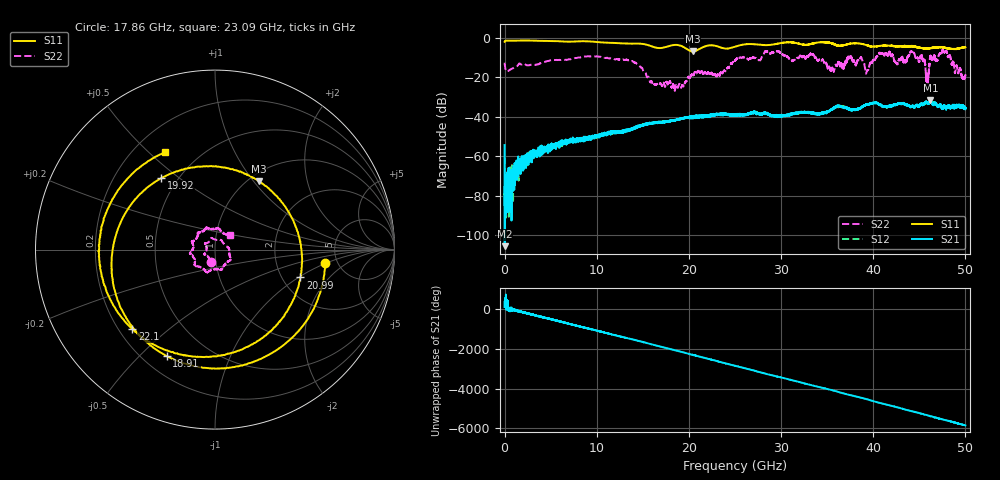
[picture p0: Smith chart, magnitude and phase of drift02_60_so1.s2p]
!Created with skrf (http://scikit-rf.org).
# Hz S RI R 50.0
!freq ReS11 ImS11 ReS21 ImS21 ReS12 ImS12 ReS22 ImS22
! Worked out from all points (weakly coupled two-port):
!   10001 points, 300 kHz to 50 GHz, reference 50 ohm
!   highest |S21| = -31.60 dB at 46.21 GHz (marker M1); lowest = -105.5 dB at 15.3 MHz (marker M2)
!   lowest |S11| = -6.9 dB at 20.42 GHz (marker M3), VSWR 2.64, Z = 55.5 + j53 ohm
!   |S11| at or under -10 dB: nowhere
!   |S22| runs from -26.8 to -5.9 dB; largest |S21 - S12| = 0.0032
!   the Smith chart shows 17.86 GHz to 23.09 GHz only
!   S11 on the Smith chart (normalised r, x): 17.86 GHz: 3.99, -0.99; 18.91 GHz: 0.29, -0.61; 19.92 GHz: 0.41, +0.43; 20.99 GHz: 2.51, -1.04; 22.1 GHz: 0.25, -0.38; 23.09 GHz: 0.33, +0.56
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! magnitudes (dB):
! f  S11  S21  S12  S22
! 300 kHz  -2.1  -54.3  -60.6  -12.6
! 15.3 MHz  -2.0  -105.5  -76.5  -13.5
! 260.3 MHz  -1.4  -68.5  -78.3  -17.0
! 2.805 GHz  -1.4  -58.9  -60.8  -13.7
! 8.335 GHz  -1.7  -51.1  -51.9  -9.7
! 13.71 GHz  -2.9  -46.2  -46.1  -11.7
! 16.67 GHz  -5.2  -42.6  -42.9  -23.7
! 17.86 GHz  -4.2  -42.3  -42.0  -22.8
! 18.91 GHz  -3.7  -41.3  -41.2  -23.8
! 19.92 GHz  -6.1  -40.3  -40.4  -19.9
! 20.42 GHz  -6.9  -39.6  -39.9  -19.2
! 20.99 GHz  -6.0  -40.2  -39.7  -16.8
! 22.1 GHz  -3.9  -39.8  -39.1  -17.4
! 23.09 GHz  -4.3  -39.1  -39.0  -18.7
! 25 GHz  -4.5  -38.8  -39.1  -11.6
! 33.34 GHz  -3.0  -38.3  -37.9  -8.4
! 39.33 GHz  -3.8  -33.8  -33.7  -16.6
! 41.67 GHz  -3.9  -34.6  -34.5  -7.7
! 45.86 GHz  -5.4  -32.9  -32.9  -18.1
! 46.21 GHz  -5.3  -31.6  -32.0  -9.3
! 47.74 GHz  -5.0  -34.3  -34.5  -7.3
! 50 GHz  -4.8  -35.6  -35.7  -19.1
